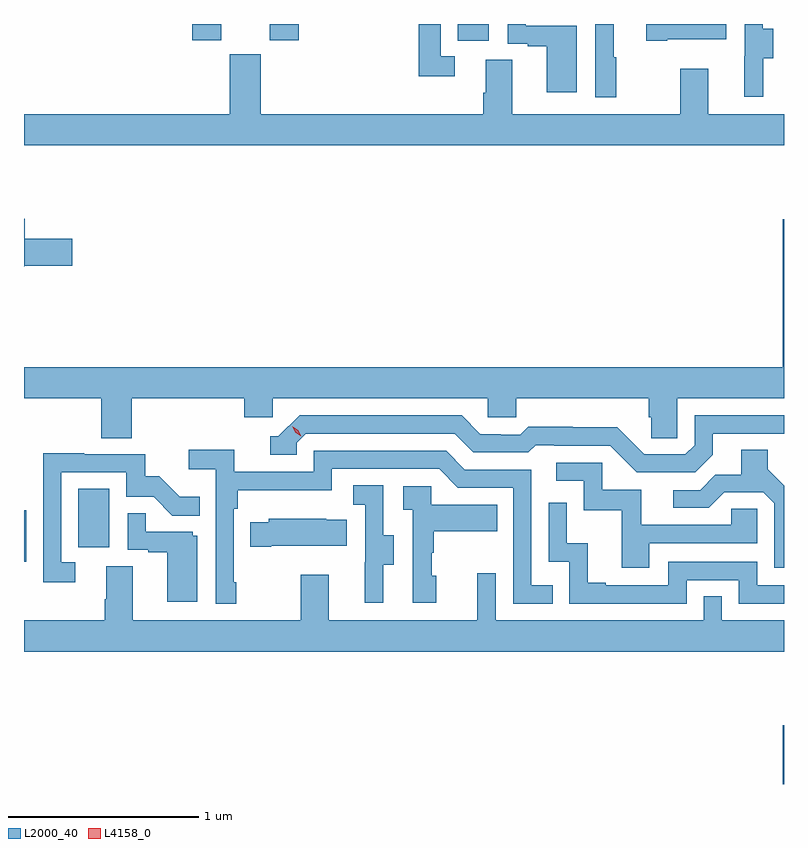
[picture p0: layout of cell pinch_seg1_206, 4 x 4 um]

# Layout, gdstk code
import gdstk
lib = gdstk.Library(unit=1e-6, precision=1e-09)
def R(c, l, rs):  # rectangles x0, y0, x1, y1
    for r in rs: c.add(gdstk.rectangle(r[:2], r[2:], *l))
def P(c, l, *ps):  # polygons
    for p in ps: c.add(gdstk.Polygon(p, *l))
L2000_40 = (2000, 40)
L4158_0 = (4158, 0)

pinch_seg1_206 = lib.new_cell('pinch_seg1_206')
R(pinch_seg1_206, L2000_40, [(954.908,565.687,954.915,565.995), (950.915,566.858,950.926,567.127), (951.2,566.934,951.364,567.241), (953.198,569.598,953.362,569.687), (951.8,569.601,951.952,569.687), (952.208,569.601,952.361,569.687)])
P(pinch_seg1_206, L2000_40, [(954.805,569.506),(954.859,569.506),(954.859,569.661),(954.804,569.661),(954.804,569.687),(954.708,569.687),(954.708,569.517),(954.707,569.517),(954.707,569.304),(954.805,569.304)],
  [(954.031,569.513),(954.019,569.513),(954.019,569.687),(953.922,569.687),(953.922,569.301),(954.031,569.301)],
  [(953.824,569.679),(953.555,569.679),(953.555,569.687),(953.46,569.687),(953.46,569.583),(953.567,569.583),(953.567,569.571),(953.666,569.571),(953.666,569.328),(953.824,569.328)],
  [(953.182,569.517),(953.109,569.517),(953.109,569.687),(952.993,569.687),(952.993,569.412),(953.182,569.412)],
  [(954.301,569.606),(954.611,569.606),(954.611,569.687),(954.189,569.687),(954.189,569.599),(954.301,569.599)],
  [(954.915,569.212),(954.517,569.212),(954.517,569.452),(954.37,569.452),(954.37,569.212),(953.485,569.212),(953.485,569.498),(953.345,569.498),(953.345,569.324),(953.333,569.324),(953.333,569.212),(952.162,569.212),(952.162,569.529),(951.998,569.529),(951.998,569.212),(950.915,569.212),(950.915,569.048),(954.915,569.048)],
  [(950.916,568.415),(951.169,568.415),(951.169,568.557),(950.92,568.557),(950.92,568.663),(950.915,568.663),(950.915,568.409),(950.916,568.409)],
  [(951.482,567.716),(952.073,567.716),(952.073,567.618),(952.224,567.618),(952.224,567.716),(953.355,567.716),(953.355,567.618),(953.505,567.618),(953.505,567.716),(954.203,567.716),(954.203,567.618),(954.217,567.618),(954.217,567.508),(954.354,567.508),(954.354,567.716),(954.915,567.716),(954.915,568.659),(954.908,568.659),(954.908,567.88),(950.915,567.88),(950.915,567.716),(951.322,567.716),(951.322,567.508),(951.482,567.508)],
  [(954.541,567.421),(954.541,567.531),(954.915,567.531),(954.915,567.627),(954.444,567.627),(954.444,567.471),(954.396,567.423),(954.18,567.423),(954.038,567.565),(953.802,567.565),(953.802,567.568),(953.569,567.568),(953.527,567.525),(953.424,567.525),(953.424,567.528),(953.317,567.528),(953.218,567.627),(952.365,567.627),(952.254,567.516),(952.211,567.516),(952.211,567.42),(952.35,567.42),(952.35,567.483),(952.398,567.531),(953.181,567.531),(953.28,567.432),(953.569,567.432),(953.608,567.471),(953.707,567.471),(953.707,567.468),(954,567.468),(954.141,567.327),(954.447,567.327)],
  [(954.915,567.258),(954.829,567.344),(954.829,567.446),(954.689,567.446),(954.689,567.314),(954.554,567.314),(954.474,567.234),(954.333,567.234),(954.333,567.141),(954.52,567.141),(954.601,567.222),(954.807,567.222),(954.864,567.165),(954.864,566.826),(954.915,566.826)],
  [(952.033,566.749),(952.02,566.749),(952.02,567.137),(952.04,567.137),(952.04,567.233),(952.536,567.233),(952.536,567.345),(953.1,567.345),(953.199,567.246),(953.49,567.246),(953.49,566.637),(953.699,566.637),(953.699,566.733),(953.586,566.733),(953.586,567.342),(953.236,567.342),(953.137,567.441),(952.44,567.441),(952.44,567.33),(952.022,567.33),(952.022,567.446),(951.783,567.446),(951.783,567.344),(951.924,567.344),(951.924,566.637),(952.033,566.637)],
  [(951.184,566.853),(951.111,566.853),(951.111,567.327),(951.453,567.327),(951.453,567.198),(951.597,567.198),(951.695,567.1),(951.839,567.1),(951.839,567.199),(951.735,567.199),(951.628,567.306),(951.552,567.306),(951.552,567.423),(951.233,567.423),(951.233,567.428),(951.015,567.428),(951.015,566.748),(951.184,566.748)],
  [(954.205,566.955),(954.774,566.955),(954.774,567.135),(954.637,567.135),(954.637,567.051),(954.163,567.051),(954.163,567.237),(953.958,567.237),(953.958,567.378),(953.715,567.378),(953.715,567.282),(953.862,567.282),(953.862,567.129),(954.061,567.129),(954.061,566.826),(954.205,566.826)],
  [(952.807,566.842),(952.861,566.842),(952.861,566.997),(952.806,566.997),(952.806,567.26),(952.647,567.26),(952.647,567.157),(952.71,567.157),(952.71,566.853),(952.709,566.853),(952.709,566.64),(952.807,566.64)],
  [(953.086,566.784),(953.061,566.784),(953.061,566.903),(953.071,566.903),(953.071,567.017),(953.405,567.017),(953.405,567.157),(953.058,567.157),(953.058,567.255),(952.911,567.255),(952.911,567.131),(952.962,567.131),(952.962,566.64),(953.086,566.64)],
  [(954.402,566.76),(954.678,566.76),(954.678,566.637),(954.915,566.637),(954.915,566.733),(954.774,566.733),(954.774,566.856),(954.306,566.856),(954.306,566.733),(953.977,566.733),(953.977,566.746),(953.882,566.746),(953.882,566.954),(953.772,566.954),(953.772,567.166),(953.676,567.166),(953.676,566.856),(953.784,566.856),(953.784,566.637),(954.402,566.637)],
  [(951.826,566.994),(951.804,566.994),(951.804,567.015),(951.557,567.015),(951.557,567.113),(951.462,567.113),(951.462,566.919),(951.569,566.919),(951.569,566.907),(951.668,566.907),(951.668,566.646),(951.826,566.646)],
  [(952.216,566.942),(952.613,566.942),(952.613,567.079),(952.505,567.079),(952.505,567.082),(952.203,567.082),(952.203,567.064),(952.105,567.064),(952.105,566.935),(952.216,566.935)],
  [(954.915,566.548),(954.588,566.548),(954.588,566.675),(954.492,566.675),(954.492,566.548),(953.397,566.548),(953.397,566.797),(953.3,566.797),(953.3,566.548),(952.519,566.548),(952.519,566.788),(952.372,566.788),(952.372,566.548),(951.487,566.548),(951.487,566.834),(951.347,566.834),(951.347,566.66),(951.34,566.66),(951.34,566.548),(950.915,566.548),(950.915,566.384),(954.915,566.384)])
P(pinch_seg1_206, L4158_0, [(952.374,567.518),(952.344,567.537),(952.328,567.57),(952.328,567.57),(952.328,567.57),(952.359,567.55),(952.375,567.518),(952.375,567.518)])

lib.write_gds('pinch_seg1_206.gds')
